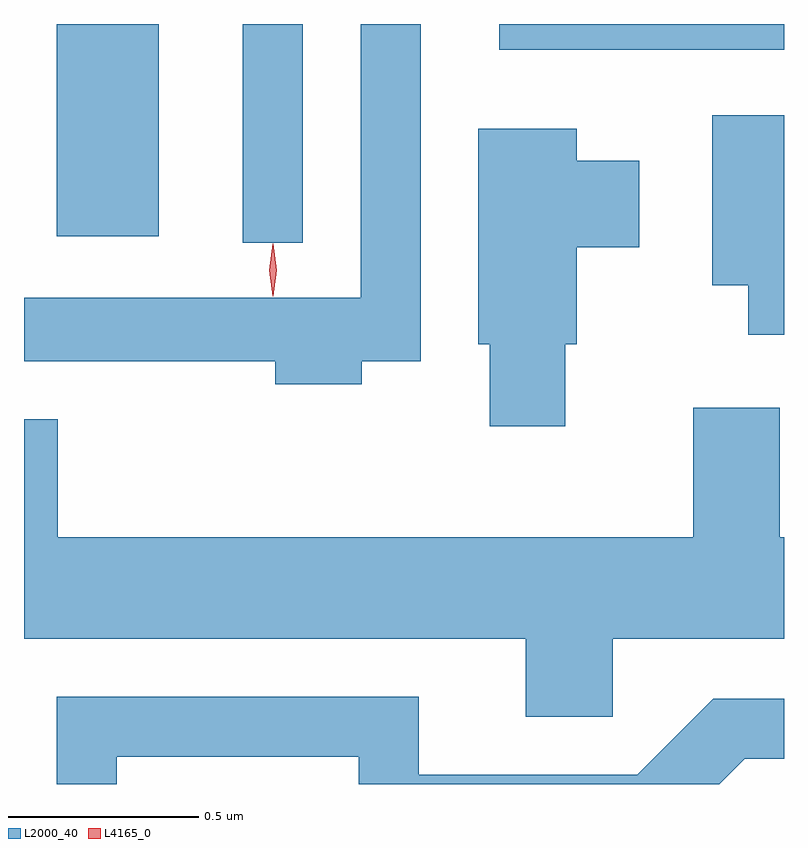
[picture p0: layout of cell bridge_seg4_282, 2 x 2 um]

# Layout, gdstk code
import gdstk
lib = gdstk.Library(unit=1e-6, precision=1e-09)
def R(c, l, rs):  # rectangles x0, y0, x1, y1
    for r in rs: c.add(gdstk.rectangle(r[:2], r[2:], *l))
def P(c, l, *ps):  # polygons
    for p in ps: c.add(gdstk.Polygon(p, *l))
L2000_40 = (2000, 40)
L4165_0 = (4165, 0)

bridge_seg4_282 = lib.new_cell('bridge_seg4_282')
R(bridge_seg4_282, L2000_40, [(521.746,1335.738,521.904,1336.314), (521.256,1335.756,521.524,1336.314), (522.421,1336.246,523.17,1336.314)])
P(bridge_seg4_282, L2000_40, [(522.059,1335.426),(522.214,1335.426),(522.214,1336.314),(522.056,1336.314),(522.056,1335.594),(521.17,1335.594),(521.17,1335.426),(521.831,1335.426),(521.831,1335.366),(522.059,1335.366)],
  [(523.17,1336.074),(522.981,1336.074),(522.981,1335.626),(523.076,1335.626),(523.076,1335.496),(523.17,1335.496)],
  [(522.594,1335.471),(522.624,1335.471),(522.624,1335.726),(522.789,1335.726),(522.789,1335.954),(522.624,1335.954),(522.624,1336.039),(522.366,1336.039),(522.366,1335.471),(522.396,1335.471),(522.396,1335.256),(522.594,1335.256)],
  [(522.719,1334.696),(523.17,1334.696),(523.17,1334.964),(523.159,1334.964),(523.159,1335.304),(522.931,1335.304),(522.931,1334.964),(521.259,1334.964),(521.259,1335.274),(521.17,1335.274),(521.17,1334.696),(522.491,1334.696),(522.491,1334.491),(522.719,1334.491)],
  [(521.414,1334.386),(522.051,1334.386),(522.051,1334.314),(523,1334.314),(523.067,1334.381),(523.17,1334.381),(523.17,1334.539),(522.984,1334.539),(522.784,1334.339),(522.209,1334.339),(522.209,1334.544),(521.256,1334.544),(521.256,1334.314),(521.414,1334.314)])
P(bridge_seg4_282, L4165_0, [(521.825,1335.599),(521.824,1335.6),(521.815,1335.666),(521.824,1335.732),(521.825,1335.733),(521.825,1335.732),(521.835,1335.666),(521.825,1335.6)],
  [(521.825,1335.597),(521.824,1335.598),(521.815,1335.666),(521.824,1335.736),(521.825,1335.736),(521.826,1335.736),(521.835,1335.666),(521.826,1335.598)])

lib.write_gds('bridge_seg4_282.gds')
